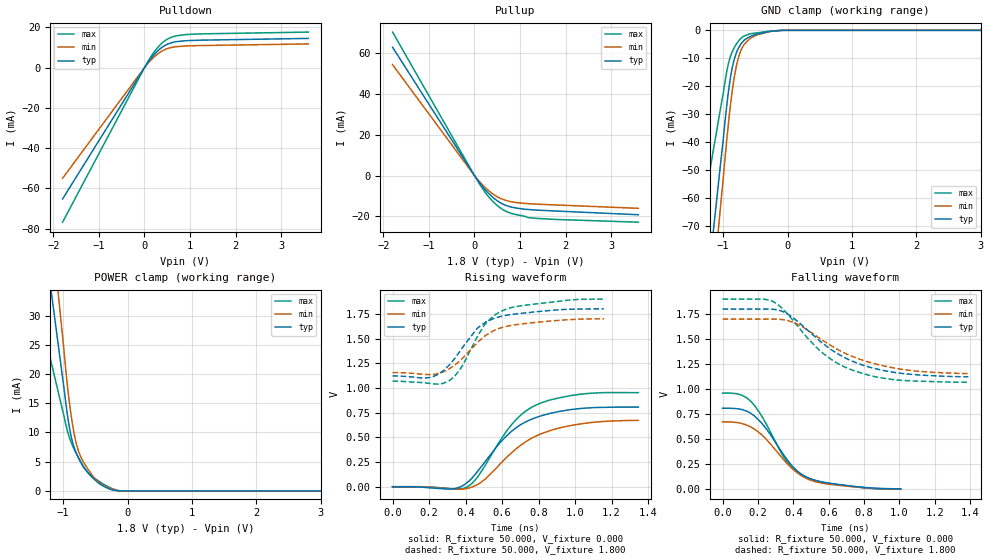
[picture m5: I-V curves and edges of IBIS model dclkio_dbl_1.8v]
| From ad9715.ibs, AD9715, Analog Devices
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[Model]   dclkio_dbl_1.8v
Model_type I/O
Vinl=5.400E-01
Vinh=1.260E+00
Vref=0.000E+00
Rref=1.000E+06
Cref=0.000E+00
Vmeas=9.000E-01
C_comp   6.290E-13   6.240E-13   6.330E-13
[Voltage Range]   1.800E+00   1.700E+00   1.900E+00
[POWER Clamp Reference]   1.800E+00   1.700E+00   1.900E+00
[GND Clamp Reference]   0.000E+00   0.000E+00   0.000E+00
[Pullup Reference]   1.800E+00   1.700E+00   1.900E+00
[Pulldown Reference]   0.000E+00   0.000E+00   0.000E+00
[Temperature Range]   25   85   -40
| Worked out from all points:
|   slope of the pulldown table from 0 to 0.27 V, typ, clamps not added: 34.5 ohm
|   slope of the pullup table from 0 to 0.27 V, typ, clamps not added: 34.7 ohm
|   GND clamp passes 1 mA (typ) near -0.41 V on its own axis
|   POWER clamp passes 1 mA (typ) near -0.40 V on its own axis
|   rising waveform, R_fixture 50.000, V_fixture 0.000: 20-80 % time 249ps typ, 279ps min, 228ps max; typ from 0 V to 0.806 V
|   falling waveform, R_fixture 50.000, V_fixture 0.000: 20-80 % time 208ps typ, 221ps min, 199ps max; typ from 0.809 V to 0.003 V
|   rising waveform, R_fixture 50.000, V_fixture 1.800: 20-80 % time 185ps typ, 205ps min, 171ps max; typ from 1.12 V to 1.8 V
|   falling waveform, R_fixture 50.000, V_fixture 1.800: 20-80 % time 331ps typ, 358ps min, 299ps max; typ from 1.8 V to 1.12 V
[GND Clamp]
-1.8V     -210.5mA   -248.1mA   -129.5mA
-1.02V    -43.37mA   -57.94mA   -25.13mA
-920mV    -22.26mA   -33.75mA   -12.1mA
-880mV    -15.97mA   -25.52mA   -8.927mA
-840mV    -11.46mA   -18.67mA   -6.733mA
-800mV    -8.39mA    -13.39mA   -5.098mA
-760mV    -6.276mA   -9.569mA   -3.801mA
-680mV    -3.706mA   -5.259mA   -2.101mA
-560mV    -2.005mA   -2.605mA   -1.166mA
-460mV    -1.262mA   -1.529mA   -863.2uA
-80mV     0A         0A         0A
3.6V      0A         0A         0A
[Power Clamp]
-1.8V     85.65mA    113.8mA    50.61mA
-1.02V    20.28mA    27.56mA    14.3mA
-940mV    13.5mA     18.63mA    10.52mA
-900mV    10.69mA    14.87mA    9.051mA
-860mV    8.594mA    11.75mA    7.899mA
-800mV    6.574mA    8.269mA    6.488mA
-760mV    5.584mA    6.735mA    5.656mA
-680mV    4.005mA    4.872mA    4.122mA
-540mV    2.248mA    2.556mA    2.314mA
-400mV    974.9uA    1.115mA    1.337mA
-120mV    0A         0A         0A
3.6V      0A         0A         0A
[Pullup]
-1.8V     62.76mA    54.22mA    70.17mA
0V        0A         0A         0A
260mV     -7.55mA    -6.341mA   -8.945mA
380mV     -10.17mA   -8.605mA   -12.1mA
540mV     -12.9mA    -10.84mA   -15.35mA
740mV     -14.94mA   -12.45mA   -17.93mA
920mV     -15.9mA    -13.19mA   -19.11mA
1.18V     -16.58mA   -13.72mA   -20.54mA
1.74V     -17.28mA   -14.31mA   -21.41mA
3.6V      -19.14mA   -16mA      -22.79mA
[Pulldown]
-1.8V     -65.25mA   -54.97mA   -76.79mA
60mV      2.043mA    1.705mA    2.429mA
180mV     5.662mA    4.689mA    6.783mA
280mV     8.062mA    6.638mA    9.71mA
440mV     10.9mA     8.89mA     13.22mA
560mV     12.14mA    9.845mA    14.8mA
660mV     12.73mA    10.28mA    15.58mA
980mV     13.45mA    10.81mA    16.53mA
3.6V      14.52mA    11.78mA    17.66mA
[Rising Waveform]
R_fixture = 50.000
V_fixture = 0.000
V_fixture_min = 0.000
V_fixture_max = 0.000
|  time   V(typ)   V(min)   V(max)
0s        0V         0V         -308.4uV
310ps     -23.51mV   -20.48mV   -18.09mV
397.5ps   25.8mV     -20.73mV   -11.18mV
470ps     164.5mV    26.57mV    107.5mV
622.5ps   510.6mV    292.3mV    557.3mV
700ps     626.1mV    416.7mV    720.7mV
767.5ps   687.7mV    496.3mV    809.8mV
865ps     742.8mV    569.4mV    878.9mV
1.02ns    790mV      632.8mV    934.5mV
1.347ns   806mV      672mV      952.4mV
[Falling Waveform]
R_fixture = 50.000
V_fixture = 0.000
V_fixture_min = 0.000
V_fixture_max = 0.000
|  time   V(typ)   V(min)   V(max)
0s        809.1mV    672mV      959.9mV
97.5ps    800.4mV    661mV      945.5mV
162.5ps   754.7mV    618.8mV    872.9mV
240ps     619.6mV    511.8mV    673.4mV
357.5ps   313mV      271.2mV    290.3mV
405ps     211.1mV    188.5mV    194.8mV
457.5ps   137.8mV    123mV      131.3mV
610ps     57.75mV    47.52mV    56.14mV
837.5ps   13.16mV    9.958mV    7.147mV
1.008ns   2.842mV    0V         0V
[Rising Waveform]
R_fixture = 50.000
V_fixture = 1.800
V_fixture_min = 1.700
V_fixture_max = 1.900
|  time   V(typ)   V(min)   V(max)
0s        1.123V     1.155V     1.069V
197.5ps   1.104V     1.135V     1.047V
247.5ps   1.136V     1.144V     1.039V
310ps     1.23V      1.193V     1.073V
377.5ps   1.393V     1.289V     1.21V
470ps     1.613V     1.469V     1.539V
550ps     1.7V       1.577V     1.724V
617.5ps   1.734V     1.62V      1.794V
952.5ps   1.796V     1.69V      1.887V
1.158ns   1.8V       1.7V       1.9V
[Falling Waveform]
R_fixture = 50.000
V_fixture = 1.800
V_fixture_min = 1.700
V_fixture_max = 1.900
|  time   V(typ)   V(min)   V(max)
0s        1.8V       1.7V       1.9V
230ps     1.8V       1.7V       1.899V
290ps     1.797V     1.7V       1.871V
332.5ps   1.781V     1.696V     1.815V
402.5ps   1.709V     1.666V     1.678V
550ps     1.482V     1.507V     1.385V
652.5ps   1.352V     1.395V     1.255V
750ps     1.267V     1.316V     1.18V
1.018ns   1.156V     1.197V     1.087V
1.39ns    1.123V     1.155V     1.069V
[Ramp]
dV/dt_r   4.8378E-01/2.4910E-10   4.0319E-01/2.7631E-10   5.7160E-01/2.2749E-10
dV/dt_f   4.0644E-01/3.3109E-10   3.2709E-01/3.5848E-10   4.9840E-01/2.9758E-10
R_load = 50
